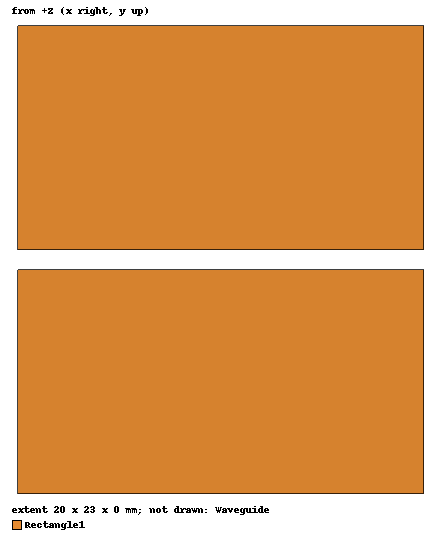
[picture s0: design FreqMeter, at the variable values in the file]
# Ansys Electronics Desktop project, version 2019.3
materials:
  vacuum: permittivity=1

design FreqMeter (HFSS, DrivenModal, model units mm)
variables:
  a = 20mm
  b = 15.2mm
  l = 100mm
  radius = 11.5mm
  d = 23.3mm
  h = 1mm
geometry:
  Waveguide [vacuum] = box(corner=(0mm, 0mm, 0mm), size=(a, l, b))
  Cavity = cylinder(axis=X, base_centre=(0mm, l/2, (b+radius-0.5mm)), radius=radius, height=d)
  Rectangle1 = rectangle(corner=(0mm, (l/2)-radius, b), x_size=a, y_size=2*radius)
  Waveguide.unite(Cavity)
  Rectangle2 [non-model] = rectangle(corner=(0mm, l/2, b), z_size=2*radius, x_size=a)
  Rectangle3 = rectangle(corner=(0mm, (l/2)-(h/2), b), x_size=a, y_size=h)
  Rectangle1.subtract(Rectangle3)
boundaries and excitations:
  PerfE1: Perfect E Faces=Rectangle1.face(all 2) Waveguide.face(at (10, 23.3229, 15.2), at (10, 76.6771, 15.2), -x, 3 of 3, 1 of 3, -z, +x)
  1: Wave Port Faces=Waveguide.face(-y) NumModes=1 Modes{Mode1{CharImp=Zpi}}
  2: Wave Port Faces=Waveguide.face(+y) NumModes=1 Modes{Mode1{CharImp=Zpi}}
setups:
  Setup1: HfssDriven Frequency=10GHz MaxDeltaS=0.02 MaximumPasses=6 MinimumPasses=1 MinimumConvergedPasses=1 PercentRefinement=30 BasisOrder=1 PortAccuracy=2
    sweep Sweep: 8GHz to 12GHz, 401 points; Type=Interpolating InterpTolerance=0.5 InterpMaxSolns=250 InterpUsePortImped=false PassivityErrorTolerance=0.0001
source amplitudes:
  1:1: 1W 0deg
  2:1: 0W 0deg
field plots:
  Mag_E1: E Field in Waveguide on Setup1 : LastAdaptive at Freq=10GHz Phase=0deg
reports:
  S Parameter Plot 1: dB(S(1,1)) vs Freq on Setup1 : Sweep
  S Parameter Plot 2: dB(S(2,1)) vs Freq on Setup1 : Sweep
